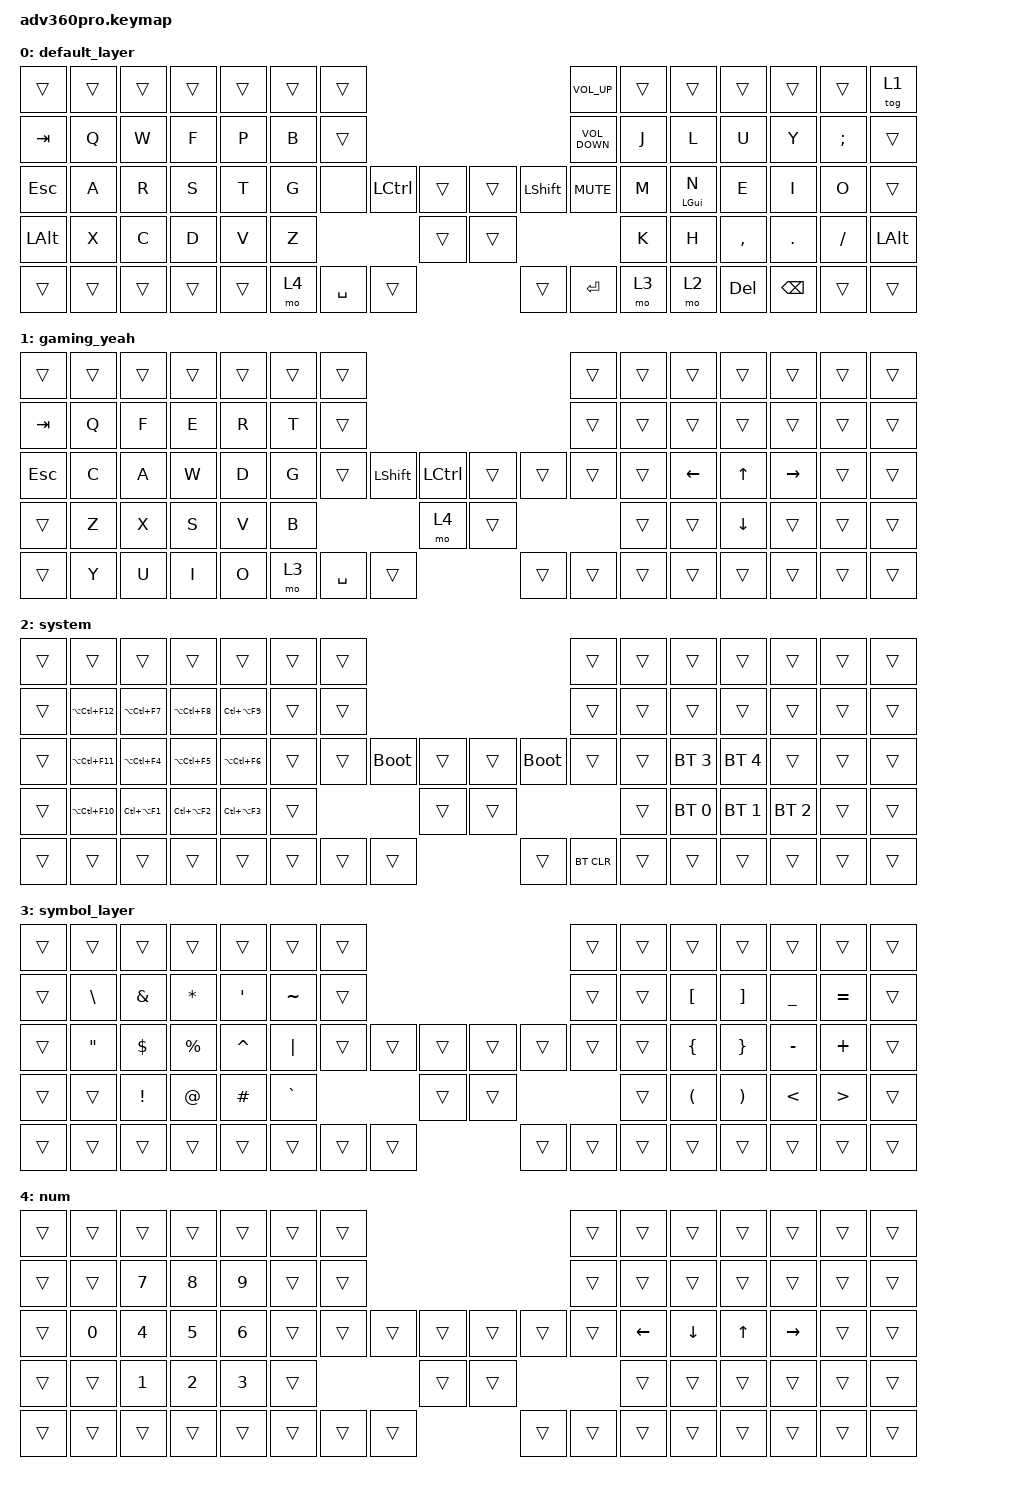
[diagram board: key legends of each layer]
#include <behaviors.dtsi>
#include <dt-bindings/zmk/bt.h>
#include <dt-bindings/zmk/keys.h>

/ {
    behaviors {
        key_key_timed: key_key_timed {
            compatible = "zmk,behavior-hold-tap";
            label = "KEY_KEY_TIMED";
            bindings = <&kp>, <&kp>;

            #binding-cells = <2>;
            tapping-term-ms = <200>;
            flavor = "tap-preferred";
        };

        key_layer_timed: key_layer_timed {
            compatible = "zmk,behavior-hold-tap";
            label = "KEY_LAYER_TIMED";
            bindings = <&mo>, <&kp>;

            #binding-cells = <2>;
            tapping-term-ms = <400>;
            flavor = "tap-preferred";
        };
    };

    macros {
        ttyx: ttyx {
            compatible = "zmk,behavior-macro";
            #binding-cells = <0>;
            bindings = <&kp LA(LS(F1))>;
            label = "TTYX";
        };
    };

    keymap {
        compatible = "zmk,keymap";

        default_layer {
            bindings = <
&trans        &trans  &trans  &trans  &trans  &trans  &trans                                                             &kp C_VOLUME_UP    &trans  &trans                     &trans      &trans         &trans    &tog 1
&kp TAB       &kp Q   &kp W   &kp F   &kp P   &kp B   &trans                                                             &kp C_VOLUME_DOWN  &kp J   &kp L                      &kp U       &kp Y          &kp SEMI  &trans
&kp ESCAPE    &kp A   &kp R   &kp S   &kp T   &kp G   &none          &kp LCTRL  &trans    &trans  &kp LEFT_SHIFT         &kp K_MUTE         &kp M   &key_key_timed LEFT_GUI N  &kp E       &kp I          &kp O     &trans
&kp LEFT_ALT  &kp X   &kp C   &kp D   &kp V   &kp Z                             &trans    &trans                                            &kp K   &kp H                      &kp COMMA   &kp DOT        &kp FSLH  &kp LEFT_ALT
&trans        &trans  &trans  &trans  &trans                  &mo 4  &kp SPACE  &trans    &trans  &kp RETURN      &mo 3                             &mo 2                      &kp DELETE  &kp BACKSPACE  &trans    &trans
            >;
        };

        gaming_yeah {
            bindings = <
&trans   &trans  &trans  &trans  &trans  &trans  &trans                                                         &trans  &trans  &trans    &trans        &trans     &trans  &trans
&kp TAB  &kp Q   &kp F   &kp E   &kp R   &kp T   &trans                                                         &trans  &trans  &trans    &trans        &trans     &trans  &trans
&kp ESC  &kp C   &kp A   &kp W   &kp D   &kp G   &trans         &kp LSHFT  &kp LCTRL    &trans  &trans          &trans  &trans  &kp LEFT  &kp UP_ARROW  &kp RIGHT  &trans  &trans
&trans   &kp Z   &kp X   &kp S   &kp V   &kp B                             &mo 4        &trans                          &trans  &trans    &kp DOWN      &trans     &trans  &trans
&trans   &kp Y   &kp U   &kp I   &kp O                   &mo 3  &kp SPACE  &trans       &trans  &trans  &trans                  &trans    &trans        &trans     &trans  &trans
            >;
        };

        system {
            bindings = <
&trans  &trans           &trans          &trans          &trans          &trans  &trans                                                              &trans  &trans  &trans        &trans        &trans        &trans  &trans
&trans  &kp LA(LC(F12))  &kp LA(LC(F7))  &kp LA(LC(F8))  &kp LC(LA(F9))  &trans  &trans                                                              &trans  &trans  &trans        &trans        &trans        &trans  &trans
&trans  &kp LA(LC(F11))  &kp LA(LC(F4))  &kp LA(LC(F5))  &kp LA(LC(F6))  &trans  &trans          &bootloader  &trans    &trans  &bootloader          &trans  &trans  &bt BT_SEL 3  &bt BT_SEL 4  &trans        &trans  &trans
&trans  &kp LA(LC(F10))  &kp LC(LA(F1))  &kp LC(LA(F2))  &kp LC(LA(F3))  &trans                               &trans    &trans                               &trans  &bt BT_SEL 0  &bt BT_SEL 1  &bt BT_SEL 2  &trans  &trans
&trans  &trans           &trans          &trans          &trans                          &trans  &trans       &trans    &trans  &bt BT_CLR   &trans                  &trans        &trans        &trans        &trans  &trans
            >;
        };

        symbol_layer {
            bindings = <
&trans  &trans             &trans           &trans        &trans     &trans     &trans                                                    &trans  &trans  &trans                &trans                 &trans          &trans            &trans
&trans  &kp BACKSLASH      &kp AMPERSAND    &kp ASTERISK  &kp SQT    &kp TILDE  &trans                                                    &trans  &trans  &kp LEFT_BRACKET      &kp RIGHT_BRACKET      &kp UNDERSCORE  &kp EQUAL         &trans
&trans  &kp DOUBLE_QUOTES  &kp DOLLAR       &kp PERCENT   &kp CARET  &kp PIPE   &trans          &trans  &trans    &trans  &trans          &trans  &trans  &kp LEFT_BRACE        &kp RIGHT_BRACE        &kp MINUS       &kp PLUS          &trans
&trans  &trans             &kp EXCLAMATION  &kp AT_SIGN   &kp HASH   &kp GRAVE                          &trans    &trans                          &trans  &kp LEFT_PARENTHESIS  &kp RIGHT_PARENTHESIS  &kp LESS_THAN   &kp GREATER_THAN  &trans
&trans  &trans             &trans           &trans        &trans                        &trans  &trans  &trans    &trans  &trans  &trans                  &trans                &trans                 &trans          &trans            &trans
            >;
        };

        num {
            bindings = <
&trans  &trans  &trans  &trans  &trans  &trans  &trans                                                    &trans  &trans    &trans    &trans        &trans     &trans  &trans
&trans  &trans  &kp N7  &kp N8  &kp N9  &trans  &trans                                                    &trans  &trans    &trans    &trans        &trans     &trans  &trans
&trans  &kp N0  &kp N4  &kp N5  &kp N6  &trans  &trans          &trans  &trans    &trans  &trans          &trans  &kp LEFT  &kp DOWN  &kp UP_ARROW  &kp RIGHT  &trans  &trans
&trans  &trans  &kp N1  &kp N2  &kp N3  &trans                          &trans    &trans                          &trans    &trans    &trans        &trans     &trans  &trans
&trans  &trans  &trans  &trans  &trans                  &trans  &trans  &trans    &trans  &trans  &trans                    &trans    &trans        &trans     &trans  &trans
            >;
        };
    };
};
